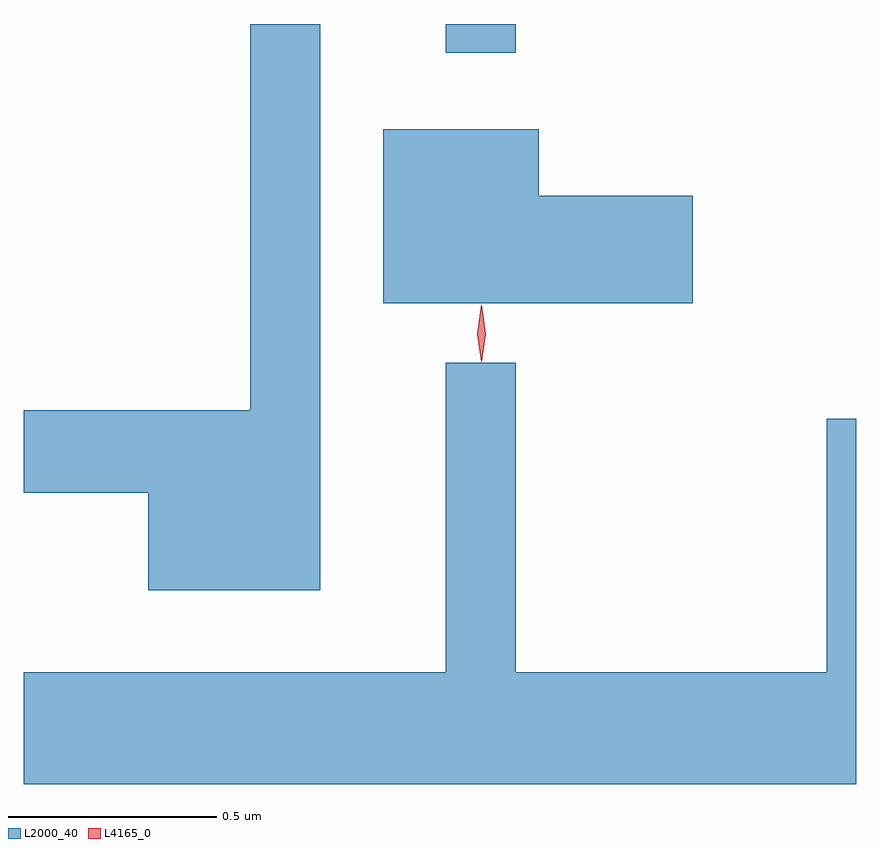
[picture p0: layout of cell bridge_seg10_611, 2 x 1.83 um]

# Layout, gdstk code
import gdstk
lib = gdstk.Library(unit=1e-6, precision=1e-09)
def R(c, l, rs):  # rectangles x0, y0, x1, y1
    for r in rs: c.add(gdstk.rectangle(r[:2], r[2:], *l))
def P(c, l, *ps):  # polygons
    for p in ps: c.add(gdstk.Polygon(p, *l))
L2000_40 = (2000, 40)
L4165_0 = (4165, 0)

bridge_seg10_611 = lib.new_cell('bridge_seg10_611')
R(bridge_seg10_611, L2000_40, [(633.741,2182.273,633.909,2182.342)])
P(bridge_seg10_611, L2000_40, [(633.439,2182.342),(633.271,2182.342),(633.271,2181.414),(632.727,2181.414),(632.727,2181.216),(633.026,2181.216),(633.026,2180.981),(633.439,2180.981)],
  [(634.334,2181.929),(633.964,2181.929),(633.964,2182.089),(633.591,2182.089),(633.591,2181.671),(634.334,2181.671)],
  [(634.727,2181.394),(634.656,2181.394),(634.656,2180.784),(633.909,2180.784),(633.909,2181.528),(633.741,2181.528),(633.741,2180.784),(632.727,2180.784),(632.727,2180.516),(634.727,2180.516)])
P(bridge_seg10_611, L4165_0, [(633.826,2181.533),(633.817,2181.596),(633.826,2181.66),(633.827,2181.66),(633.827,2181.66),(633.837,2181.596),(633.827,2181.533),(633.827,2181.533)],
  [(633.826,2181.53),(633.817,2181.598),(633.826,2181.666),(633.827,2181.666),(633.827,2181.666),(633.837,2181.598),(633.827,2181.53),(633.827,2181.53)])

lib.write_gds('bridge_seg10_611.gds')
